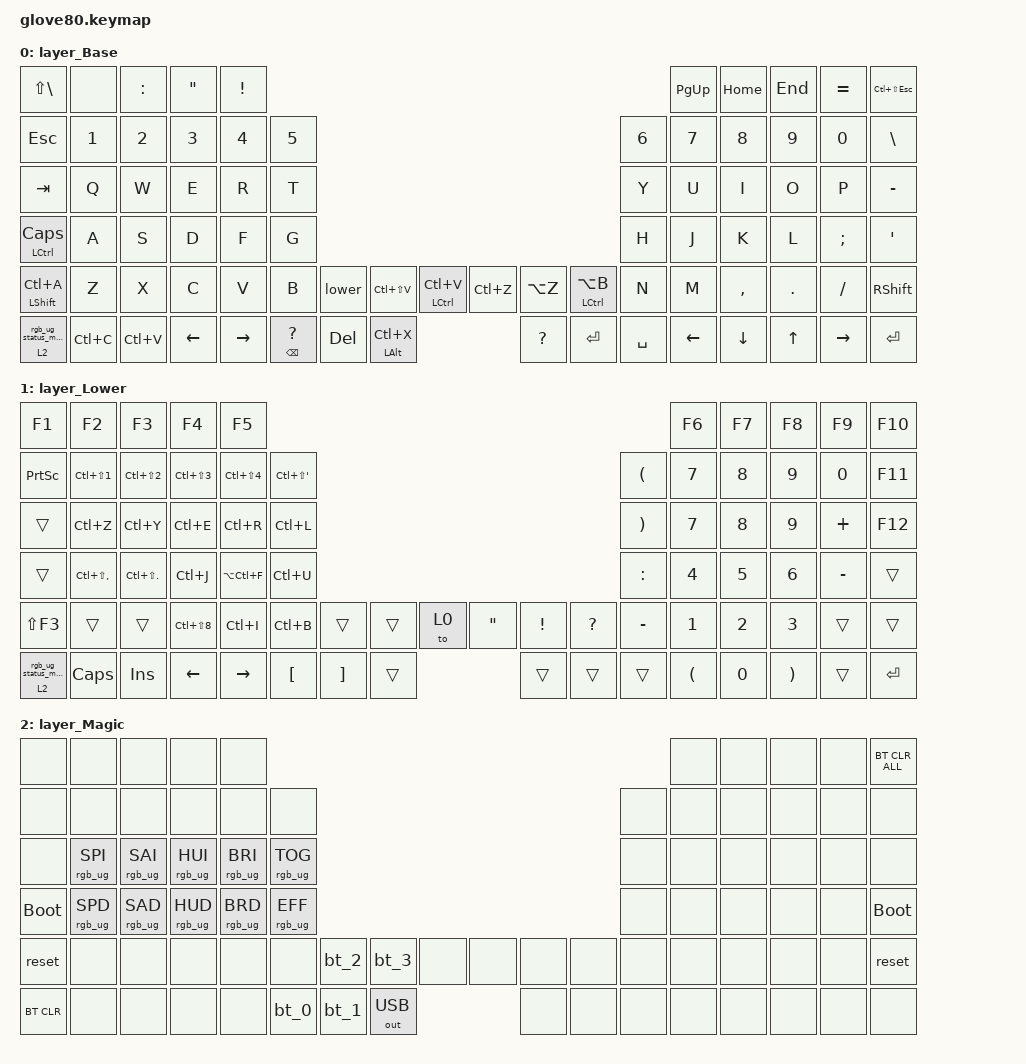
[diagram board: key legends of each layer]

/*
 * Copyright (c) 2020 The ZMK Contributors
 * Copyright (c) 2022 Innaworks Development Limited, trading as MoErgo
 *
 * SPDX-License-Identifier: MIT
 */


/* THIS FILE WAS GENERATED BY GLOVE80 LAYOUT EDITOR
 *
 * This file was generated automatically. You may or may not want to
 * edit it directly.
 */

#include <behaviors.dtsi>
/* Include all behaviour includes needed by system behaviors/macros */
#include <dt-bindings/zmk/outputs.h>

/* Include behaviour includes needed by key binds - automatically generated */
#include <dt-bindings/zmk/keys.h>
#include <dt-bindings/zmk/bt.h>
#include <dt-bindings/zmk/rgb.h>
#include <dt-bindings/zmk/outputs.h>


/ {
    /* Glove80 system behavior & macros */
    behaviors {
        // For the "layer" key, it'd nice to be able to use it as either a shift or a toggle.
        // Configure it as a tap dance, so the first tap (or hold) is a &mo and the second tap is a &to
        lower: tap_dance_0 {
            compatible = "zmk,behavior-tap-dance";
            label = "LAYER_TAP_DANCE";
            #binding-cells = <0>;
            tapping-term-ms = <200>;
            bindings = <&mo 1>, <&to 1>;
        };
    };

    macros {
        rgb_ug_status_macro: rgb_ug_status_macro_0 {
            label = "RGB_UG_STATUS";
            compatible = "zmk,behavior-macro";
            #binding-cells = <0>;
            bindings
                = <&rgb_ug RGB_STATUS>;
        };
    };

    macros {
        bt_0: bt_profile_macro_0 {
            label = "BT_0";
            compatible = "zmk,behavior-macro";
            #binding-cells = <0>;
            bindings
                = <&out OUT_BLE>,
                  <&bt BT_SEL 0>;
        };
    };

    macros {
        bt_1: bt_profile_macro_1 {
            label = "BT_1";
            compatible = "zmk,behavior-macro";
            #binding-cells = <0>;
            bindings
                = <&out OUT_BLE>,
                  <&bt BT_SEL 1>;
        };
    };

    macros {
        bt_2: bt_profile_macro_2 {
            label = "BT_2";
            compatible = "zmk,behavior-macro";
            #binding-cells = <0>;
            bindings
                = <&out OUT_BLE>,
                  <&bt BT_SEL 2>;
        };
    };

    macros {
        bt_3: bt_profile_macro_3 {
            label = "BT_3";
            compatible = "zmk,behavior-macro";
            #binding-cells = <0>;
            bindings
                = <&out OUT_BLE>,
                  <&bt BT_SEL 3>;
        };
    };

    magic: magic_hold_tap {
        compatible = "zmk,behavior-hold-tap";
        label = "MAGIC_HOLD_TAP";
        #binding-cells = <2>;
        flavor = "tap-preferred";
        tapping-term-ms = <200>;
        bindings = <&mo>, <&rgb_ug_status_macro>;
    };

    /* Custom Defined Behaviors */


    /* Automatically generated keymap */
    keymap {
        compatible = "zmk,keymap";


        layer_Base {
            bindings = <
    &kp LS(BSLH)      &none  &kp COLON   &kp DQT   &kp EXCL                                                                                                   &kp PG_UP   &kp HOME  &kp END  &kp EQUAL  &kp LC(LS(ESC))
         &kp ESC     &kp N1     &kp N2    &kp N3     &kp N4  &kp N5                                                                                   &kp N6     &kp N7     &kp N8   &kp N9     &kp N0         &kp BSLH
         &kp TAB      &kp Q      &kp W     &kp E      &kp R   &kp T                                                                                    &kp Y      &kp U      &kp I    &kp O      &kp P        &kp MINUS
  &mt LCTRL CAPS      &kp A      &kp S     &kp D      &kp F   &kp G                                                                                    &kp H      &kp J      &kp K    &kp L   &kp SEMI          &kp SQT
 &mt LSHFT LC(A)      &kp Z      &kp X     &kp C      &kp V   &kp B    &lower  &kp LC(LS(V))  &mt LCTRL LC(V)  &kp LC(Z)  &kp LA(Z)  &mt LCTRL LA(B)   &kp N      &kp M  &kp COMMA  &kp DOT   &kp FSLH        &kp RSHFT
      &magic 2 0  &kp LC(C)  &kp LC(V)  &kp LEFT  &kp RIGHT          &ht_bl BSPC QMARK        &kp DEL   &mt LALT LC(X)  &kp QMARK    &kp RET        &kp SPACE           &kp LEFT   &kp DOWN   &kp UP  &kp RIGHT          &kp RET
            >;
        };

        layer_Lower {
            bindings = <
     &kp F1             &kp F2           &kp F3          &kp F4          &kp F5                                                                                                      &kp F6  &kp F7    &kp F8     &kp F9  &kp F10
  &kp PSCRN     &kp LC(LS(N1))   &kp LC(LS(N2))  &kp LC(LS(N3))  &kp LC(LS(N4))  &kp LC(LS(SQT))                                                             &kp LEFT_PARENTHESIS    &kp N7  &kp N8    &kp N9     &kp N0  &kp F11
     &trans          &kp LC(Z)        &kp LC(Y)       &kp LC(E)       &kp LC(R)        &kp LC(L)                                                            &kp RIGHT_PARENTHESIS    &kp N7  &kp N8    &kp N9   &kp PLUS  &kp F12
     &trans  &kp LC(LS(COMMA))  &kp LC(LS(DOT))       &kp LC(J)   &kp LA(LC(F))        &kp LC(U)                                                                        &kp COLON    &kp N4  &kp N5    &kp N6  &kp MINUS   &trans
 &kp LS(F3)             &trans           &trans  &kp LC(LS(N8))       &kp LC(I)        &kp LC(B)    &trans    &trans   &to 0  &kp DQT  &kp EXCL  &kp QMARK              &kp MINUS    &kp N1  &kp N2    &kp N3     &trans   &trans
 &magic 2 0           &kp CAPS          &kp INS        &kp LEFT       &kp RIGHT                   &kp LBKT  &kp RBKT  &trans   &trans    &trans     &trans                         &kp LPAR  &kp N0  &kp RPAR     &trans  &kp RET
            >;
        };

        layer_Magic {
            bindings = <
       &none            &none            &none            &none            &none                                                                                  &none   &none   &none   &none  &bt BT_CLR_ALL
       &none            &none            &none            &none            &none            &none                                                         &none   &none   &none   &none   &none           &none
       &none  &rgb_ug RGB_SPI  &rgb_ug RGB_SAI  &rgb_ug RGB_HUI  &rgb_ug RGB_BRI  &rgb_ug RGB_TOG                                                         &none   &none   &none   &none   &none           &none
 &bootloader  &rgb_ug RGB_SPD  &rgb_ug RGB_SAD  &rgb_ug RGB_HUD  &rgb_ug RGB_BRD  &rgb_ug RGB_EFF                                                         &none   &none   &none   &none   &none     &bootloader
      &reset            &none            &none            &none            &none            &none   &bt_2   &bt_3         &none   &none   &none   &none   &none   &none   &none   &none   &none          &reset
  &bt BT_CLR            &none            &none            &none            &none                    &bt_0   &bt_1  &out OUT_USB   &none   &none   &none           &none   &none   &none   &none           &none
            >;
        };

    };
};
